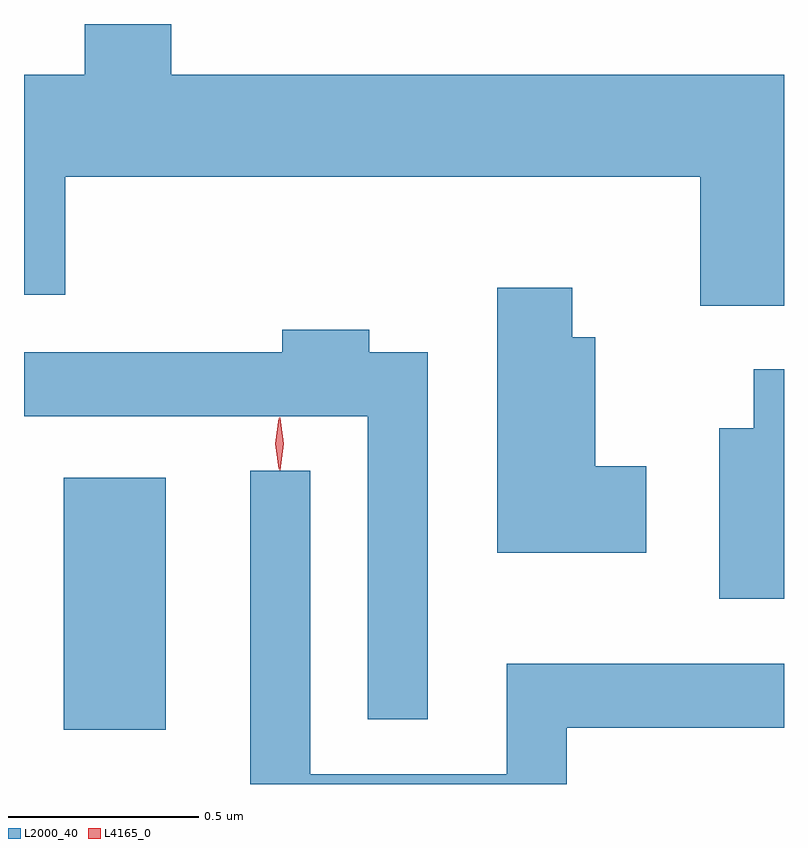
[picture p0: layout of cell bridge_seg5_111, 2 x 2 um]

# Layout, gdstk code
import gdstk
lib = gdstk.Library(unit=1e-6, precision=1e-09)
def R(c, l, rs):  # rectangles x0, y0, x1, y1
    for r in rs: c.add(gdstk.rectangle(r[:2], r[2:], *l))
def P(c, l, *ps):  # polygons
    for p in ps: c.add(gdstk.Polygon(p, *l))
L2000_40 = (2000, 40)
L4165_0 = (4165, 0)

bridge_seg5_111 = lib.new_cell('bridge_seg5_111')
R(bridge_seg5_111, L2000_40, [(1219.446,1479.761,1219.714,1480.424)])
P(bridge_seg5_111, L2000_40, [(1221.341,1481.484),(1219.729,1481.484),(1219.729,1481.618),(1219.501,1481.618),(1219.501,1481.484),(1219.341,1481.484),(1219.341,1480.906),(1219.449,1480.906),(1219.449,1481.216),(1221.121,1481.216),(1221.121,1480.876),(1221.341,1480.876)],
  [(1220.979,1480.454),(1220.844,1480.454),(1220.844,1480.794),(1220.784,1480.794),(1220.784,1480.924),(1220.586,1480.924),(1220.586,1480.226),(1220.979,1480.226)],
  [(1220.404,1480.754),(1220.249,1480.754),(1220.249,1480.814),(1220.021,1480.814),(1220.021,1480.754),(1219.341,1480.754),(1219.341,1480.586),(1220.246,1480.586),(1220.246,1479.788),(1220.404,1479.788)],
  [(1221.341,1480.709),(1221.261,1480.709),(1221.261,1480.554),(1221.171,1480.554),(1221.171,1480.106),(1221.341,1480.106)],
  [(1220.769,1479.766),(1221.341,1479.766),(1221.341,1479.934),(1220.611,1479.934),(1220.611,1479.644),(1220.094,1479.644),(1220.094,1480.443),(1219.936,1480.443),(1219.936,1479.618),(1220.769,1479.618)])
P(bridge_seg5_111, L4165_0, [(1220.011,1480.447),(1220.002,1480.514),(1220.011,1480.58),(1220.012,1480.58),(1220.012,1480.58),(1220.022,1480.514),(1220.012,1480.447),(1220.012,1480.447)],
  [(1220.014,1480.444),(1220.014,1480.444),(1220.004,1480.513),(1220.014,1480.582),(1220.014,1480.583),(1220.015,1480.582),(1220.024,1480.513),(1220.015,1480.444)])

lib.write_gds('bridge_seg5_111.gds')
